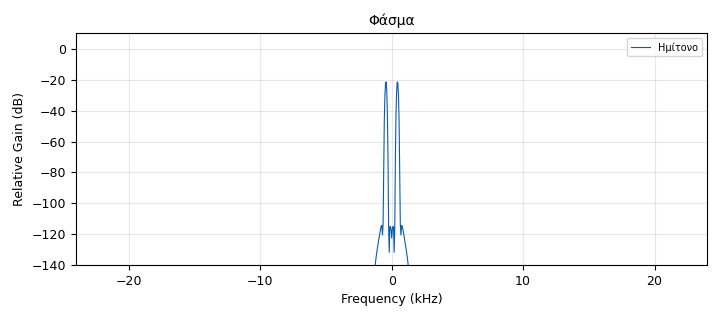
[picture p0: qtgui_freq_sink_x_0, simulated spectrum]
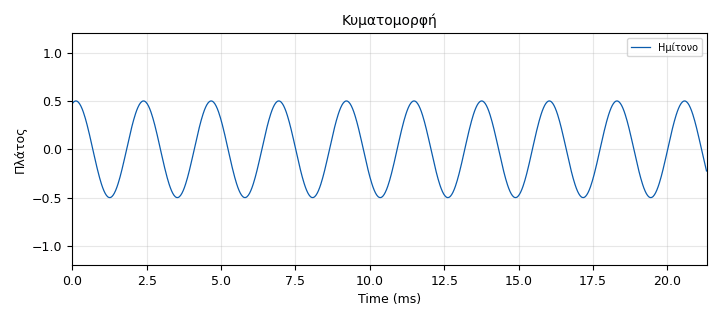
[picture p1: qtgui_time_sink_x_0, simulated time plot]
options:
  parameters:
    author: K510 Digital Communications Lab
    description: 'First GNU Radio flowgraph for lab0-intro-sdr: a tone generator with time/frequency plots and audio output. No SDR required.'
    generate_options: qt_gui
    id: hello_world
    output_language: python
    title: Hello, GNU Radio!
  states: {}

blocks:
- name: samp_rate
  id: variable
  parameters:
    comment: Audio sample rate
    value: '48000'
  states: {}
- name: tone_amp
  id: variable_qtgui_range
  parameters:
    comment: Πλάτος του ημιτόνου
    gui_hint: 1,0,1,1
    label: Πλάτος
    start: '0.1'
    step: '0.05'
    stop: '1.0'
    value: '0.5'
  states: {}
- name: tone_freq
  id: variable_qtgui_range
  parameters:
    comment: Συχνότητα του ημιτόνου
    gui_hint: 0,0,1,1
    label: Συχνότητα τόνου (Hz)
    rangeType: int
    start: '100'
    step: '10'
    stop: '2000'
    value: '440'
  states: {}
- name: analog_sig_source_x_0
  id: analog_sig_source_x
  parameters:
    amp: tone_amp
    comment: Ημίτονο τόνου (το "hello world" σήμα)
    freq: tone_freq
    offset: '0'
    phase: '0'
    samp_rate: samp_rate
    type: float
    waveform: analog.GR_COS_WAVE
  states: {}
- name: audio_sink_0
  id: audio_sink
  parameters:
    comment: Ακούστε τον τόνο στα ηχεία
    samp_rate: samp_rate
  states: {}
- name: blocks_throttle_0
  id: blocks_throttle
  parameters:
    comment: Ρυθμίζει τον χρόνο εκτέλεσης στο samp_rate
    samples_per_second: samp_rate
    type: float
  states: {}
- name: qtgui_freq_sink_x_0
  id: qtgui_freq_sink_x
  parameters:
    average: '0.2'
    bw: samp_rate
    ctrlpanel: 'True'
    fc: '0'
    fftsize: '1024'
    grid: 'True'
    gui_hint: qtgui_tab_widget_0@1
    label1: Ημίτονο
    name: '"Φάσμα"'
    type: float
  states: {}
- name: qtgui_tab_widget_0
  id: qtgui_tab_widget
  parameters:
    gui_hint: 2,0,1,2
    label0: Πεδίο χρόνου
    label1: Πεδίο συχνότητας
    num_tabs: '2'
  states: {}
- name: qtgui_time_sink_x_0
  id: qtgui_time_sink_x
  parameters:
    grid: 'True'
    gui_hint: qtgui_tab_widget_0@0
    label1: Ημίτονο
    name: '"Κυματομορφή"'
    size: '1024'
    srate: samp_rate
    type: float
    ylabel: Πλάτος
    ymax: '1.2'
    ymin: '-1.2'
  states: {}

connections:
- [analog_sig_source_x_0, '0', blocks_throttle_0, '0']
- [blocks_throttle_0, '0', audio_sink_0, '0']
- [blocks_throttle_0, '0', qtgui_freq_sink_x_0, '0']
- [blocks_throttle_0, '0', qtgui_time_sink_x_0, '0']

metadata:
  file_format: 1
  grc_version: 3.10.12.0
